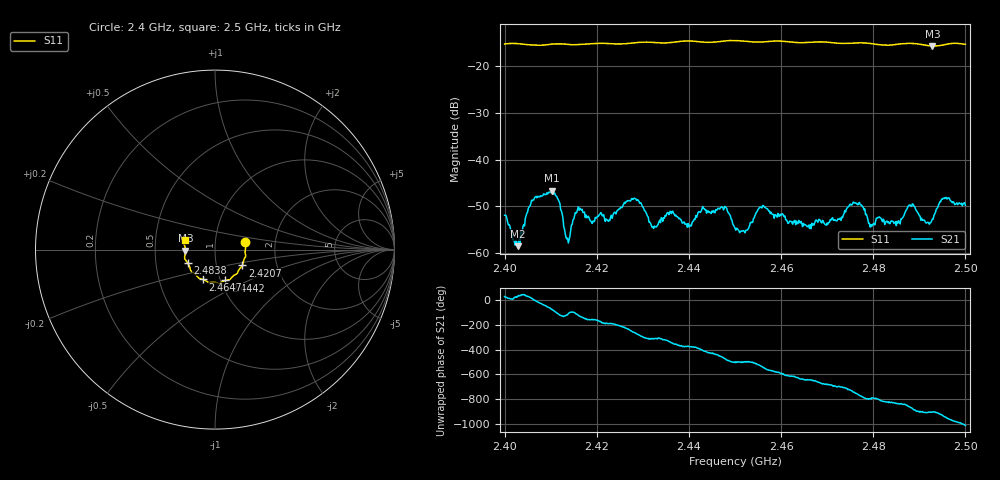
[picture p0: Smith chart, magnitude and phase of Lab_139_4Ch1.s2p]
# Hz S RI R 50
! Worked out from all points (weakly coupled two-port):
!   601 points, 2.4 GHz to 2.5 GHz, reference 50 ohm
!   highest |S21| = -46.60 dB at 2.4103 GHz (marker M1); lowest = -58.5 dB at 2.4028 GHz (marker M2)
!   lowest |S11| = -15.6 dB at 2.4928 GHz (marker M3), VSWR 1.40, Z = 35.8 - j0.443 ohm
!   |S11| at or under -10 dB: start of sweep to end of sweep
!   S12 and S22 are empty: the file has one direction only
!   S11 on the Smith chart (normalised r, x): 2.4 GHz: 1.40, +0.12; 2.4207 GHz: 1.34, -0.24; 2.4442 GHz: 1.05, -0.37; 2.4647 GHz: 0.83, -0.29; 2.4838 GHz: 0.73, -0.11; 2.5 GHz: 0.71, +0.07
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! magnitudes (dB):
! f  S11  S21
! 2.4 GHz  -15.2  -51.9
! 2.4028 GHz  -15.1  -58.5
! 2.4062 GHz  -15.4  -48.6
! 2.4103 GHz  -15.2  -46.6
! 2.4137 GHz  -15.3  -56.8
! 2.4167 GHz  -15.3  -50.8
! 2.4207 GHz  -15.1  -51.7
! 2.428 GHz  -15.0  -48.3
! 2.4333 GHz  -15.0  -53.8
! 2.4442 GHz  -14.8  -51.0
! 2.4477 GHz  -14.6  -50.4
! 2.45 GHz  -14.5  -54.6
! 2.456 GHz  -14.8  -49.8
! 2.4647 GHz  -14.9  -54.3
! 2.4667 GHz  -14.8  -53.6
! 2.476 GHz  -15.0  -49.2
! 2.4833 GHz  -15.5  -53.3
! 2.4838 GHz  -15.4  -53.1
! 2.4882 GHz  -15.1  -49.8
! 2.4928 GHz  -15.6  -52.7
! 2.4953 GHz  -15.4  -48.2
! 2.5 GHz  -15.3  -49.8
